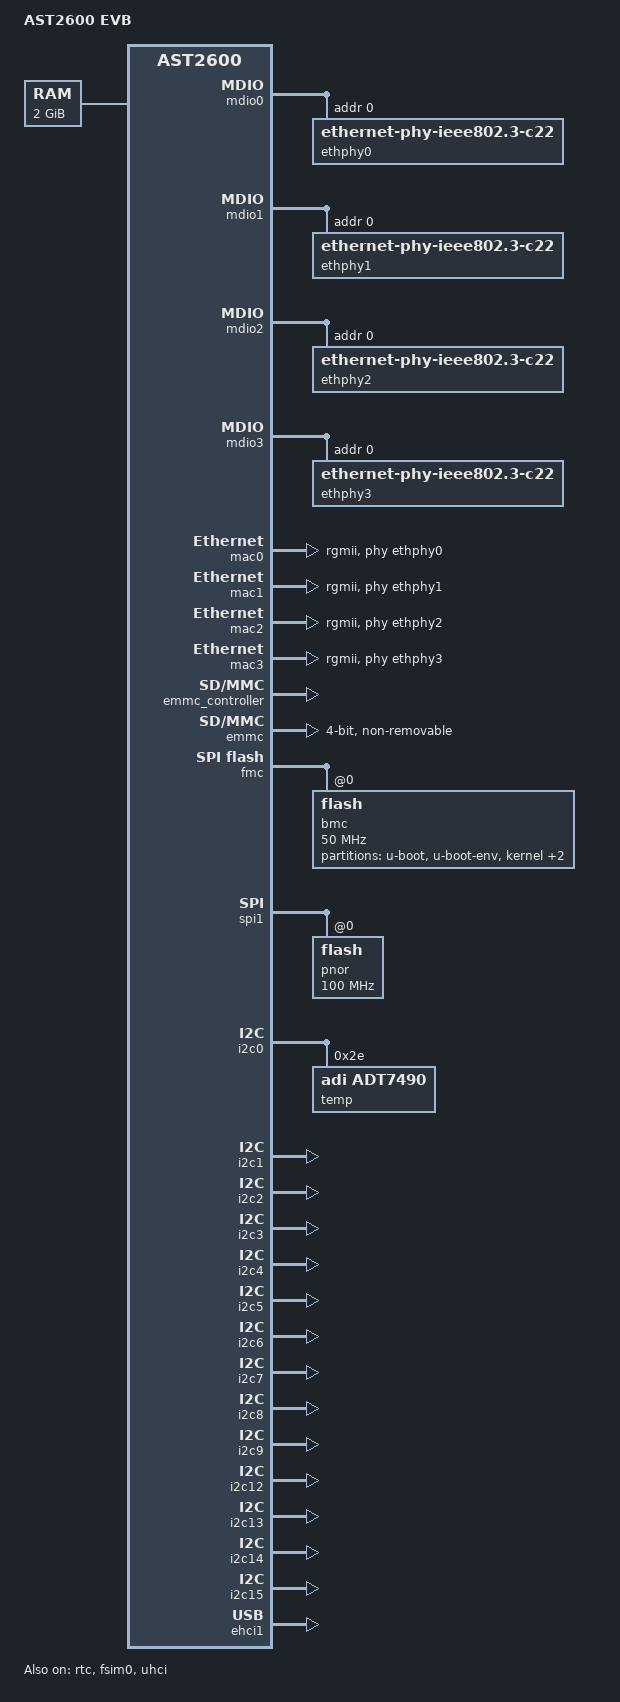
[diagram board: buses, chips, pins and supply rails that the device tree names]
// SPDX-License-Identifier: GPL-2.0-or-later
// Copyright 2019 IBM Corp.

/dts-v1/;

#include "aspeed-g6.dtsi"

/ {
	model = "AST2600 EVB";
	compatible = "aspeed,ast2600";

	aliases {
		serial4 = &uart5;
	};

	chosen {
		bootargs = "console=ttyS4,115200n8";
	};

	memory@80000000 {
		device_type = "memory";
		reg = <0x80000000 0x80000000>;
	};
};

&mdio0 {
	status = "okay";

	ethphy0: ethernet-phy@0 {
		compatible = "ethernet-phy-ieee802.3-c22";
		reg = <0>;
	};
};

&mdio1 {
	status = "okay";

	ethphy1: ethernet-phy@0 {
		compatible = "ethernet-phy-ieee802.3-c22";
		reg = <0>;
	};
};

&mdio2 {
	status = "okay";

	ethphy2: ethernet-phy@0 {
		compatible = "ethernet-phy-ieee802.3-c22";
		reg = <0>;
	};
};

&mdio3 {
	status = "okay";

	ethphy3: ethernet-phy@0 {
		compatible = "ethernet-phy-ieee802.3-c22";
		reg = <0>;
	};
};

&mac0 {
	status = "okay";

	phy-mode = "rgmii";
	phy-handle = <&ethphy0>;

	pinctrl-names = "default";
	pinctrl-0 = <&pinctrl_rgmii1_default>;
};


&mac1 {
	status = "okay";

	phy-mode = "rgmii";
	phy-handle = <&ethphy1>;

	pinctrl-names = "default";
	pinctrl-0 = <&pinctrl_rgmii2_default>;
};

&mac2 {
	status = "okay";

	phy-mode = "rgmii";
	phy-handle = <&ethphy2>;

	pinctrl-names = "default";
	pinctrl-0 = <&pinctrl_rgmii3_default>;
};

&mac3 {
	status = "okay";

	phy-mode = "rgmii";
	phy-handle = <&ethphy3>;

	pinctrl-names = "default";
	pinctrl-0 = <&pinctrl_rgmii4_default>;
};

&emmc_controller {
	status = "okay";
};

/*
 * The signal voltage of sdhci0 and sdhci1 on AST2600-A2 EVB is able to be
 * toggled by GPIO pins.
 * In the reference design, GPIOV0 of AST2600-A2 EVB is connected to the
 * power load switch that providing 3.3v to sdhci0 vdd, GPIOV1 is connected to
 * a 1.8v and a 3.3v power load switch that providing signal voltage to
 * sdhci0 bus.
 * If GPIOV0 is active high, sdhci0 is enabled, otherwise, sdhci0 is disabled.
 * If GPIOV1 is active high, 3.3v power load switch is enabled, sdhci0 signal
 * voltage is 3.3v, otherwise, 1.8v power load switch will be enabled,
 * sdhci0 signal voltage becomes 1.8v.
 * AST2600-A2 EVB also support toggling signal voltage for sdhci1.
 * The design is the same as sdhci0, it uses GPIOV2 as power-gpio and GPIOV3
 * as power-switch-gpio.
 */
&emmc {
	non-removable;
	bus-width = <4>;
	max-frequency = <52000000>;
};

&rtc {
	status = "okay";
};

&fmc {
	status = "okay";
	flash@0 {
		status = "okay";
		m25p,fast-read;
		label = "bmc";
		spi-max-frequency = <50000000>;

		partitions {
			compatible = "fixed-partitions";
			#address-cells = <1>;
			#size-cells = <1>;

			u-boot@0 {
				reg = <0x0 0xe0000>; // 896KB
				label = "u-boot";
			};

			u-boot-env@e0000 {
				reg = <0xe0000 0x20000>; // 128KB
				label = "u-boot-env";
			};

			kernel@100000 {
				reg = <0x100000 0x900000>; // 9MB
				label = "kernel";
			};

			rofs@a00000 {
				reg = <0xa00000 0x2000000>; // 32MB
				label = "rofs";
			};

			rwfs@6000000 {
				reg = <0x2a00000 0x1600000>; // 22MB
				label = "rwfs";
			};
		};
	};
};

&spi1 {
	status = "okay";
	pinctrl-names = "default";
	pinctrl-0 = <&pinctrl_spi1_default>;

	flash@0 {
		status = "okay";
		m25p,fast-read;
		label = "pnor";
		spi-max-frequency = <100000000>;
	};
};

&uart5 {
	// Workaround for A0
	compatible = "snps,dw-apb-uart";
};

&i2c0 {
	status = "okay";

	temp@2e {
		compatible = "adi,adt7490";
		reg = <0x2e>;
	};
};

&i2c1 {
	status = "okay";
};

&i2c2 {
	status = "okay";
};

&i2c3 {
	status = "okay";
};

&i2c4 {
	status = "okay";
};

&i2c5 {
	status = "okay";
};

&i2c6 {
	status = "okay";
};

&i2c7 {
	status = "okay";
};

&i2c8 {
	status = "okay";
};

&i2c9 {
	status = "okay";
};

&i2c12 {
	status = "okay";
};

&i2c13 {
	status = "okay";
};

&i2c14 {
	status = "okay";
};

&i2c15 {
	status = "okay";
};

&fsim0 {
	status = "okay";
};

&ehci1 {
	status = "okay";
};

&uhci {
	status = "okay";
};
